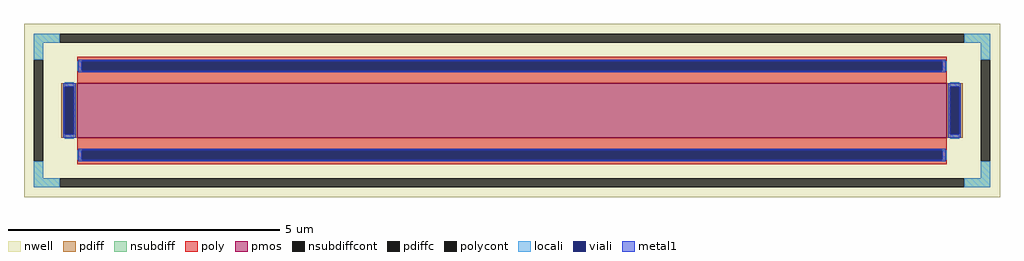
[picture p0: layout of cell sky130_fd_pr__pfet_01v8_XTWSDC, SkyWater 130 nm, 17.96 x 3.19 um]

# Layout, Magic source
magic
tech sky130A
magscale 1 2
<< nwell >>
rect -1796 -319 1796 319
<< pmos >>
rect -1600 -100 1600 100
<< pdiff >>
rect -1658 88 -1600 100
rect -1658 -88 -1646 88
rect -1612 -88 -1600 88
rect -1658 -100 -1600 -88
rect 1600 88 1658 100
rect 1600 -88 1612 88
rect 1646 -88 1658 88
rect 1600 -100 1658 -88
<< pdiffc >>
rect -1646 -88 -1612 88
rect 1612 -88 1646 88
<< nsubdiff >>
rect -1760 249 -1664 283
rect 1664 249 1760 283
rect -1760 187 -1726 249
rect 1726 187 1760 249
rect -1760 -249 -1726 -187
rect 1726 -249 1760 -187
rect -1760 -283 -1664 -249
rect 1664 -283 1760 -249
<< nsubdiffcont >>
rect -1664 249 1664 283
rect -1760 -187 -1726 187
rect 1726 -187 1760 187
rect -1664 -283 1664 -249
<< poly >>
rect -1600 181 1600 197
rect -1600 147 -1584 181
rect 1584 147 1600 181
rect -1600 100 1600 147
rect -1600 -147 1600 -100
rect -1600 -181 -1584 -147
rect 1584 -181 1600 -147
rect -1600 -197 1600 -181
<< polycont >>
rect -1584 147 1584 181
rect -1584 -181 1584 -147
<< locali >>
rect -1760 249 -1664 283
rect 1664 249 1760 283
rect -1760 187 -1726 249
rect 1726 187 1760 249
rect -1600 147 -1584 181
rect 1584 147 1600 181
rect -1646 88 -1612 104
rect -1646 -104 -1612 -88
rect 1612 88 1646 104
rect 1612 -104 1646 -88
rect -1600 -181 -1584 -147
rect 1584 -181 1600 -147
rect -1760 -249 -1726 -187
rect 1726 -249 1760 -187
rect -1760 -283 -1664 -249
rect 1664 -283 1760 -249
<< viali >>
rect -1584 147 1584 181
rect -1646 -88 -1612 88
rect 1612 -88 1646 88
rect -1584 -181 1584 -147
<< metal1 >>
rect -1596 181 1596 187
rect -1596 147 -1584 181
rect 1584 147 1596 181
rect -1596 141 1596 147
rect -1652 88 -1606 100
rect -1652 -88 -1646 88
rect -1612 -88 -1606 88
rect -1652 -100 -1606 -88
rect 1606 88 1652 100
rect 1606 -88 1612 88
rect 1646 -88 1652 88
rect 1606 -100 1652 -88
rect -1596 -147 1596 -141
rect -1596 -181 -1584 -147
rect 1584 -181 1596 -147
rect -1596 -187 1596 -181
<< properties >>
string FIXED_BBOX -1743 -266 1743 266
string gencell sky130_fd_pr__pfet_01v8
string library sky130
string parameters w 1 l 16 m 1 nf 1 diffcov 100 polycov 100 guard 1 glc 1 grc 1 gtc 1 gbc 1 tbcov 100 rlcov 100 topc 1 botc 1 poverlap 0 doverlap 1 lmin 0.15 wmin 0.42 compatible {sky130_fd_pr__pfet_01v8  sky130_fd_pr__pfet_01v8_lvt sky130_fd_pr__pfet_01v8_hvt  sky130_fd_pr__pfet_g5v0d10v5} full_metal 1 viasrc 100 viadrn 100 viagate 100 viagb 0 viagr 0 viagl 0 viagt 0
<< end >>
